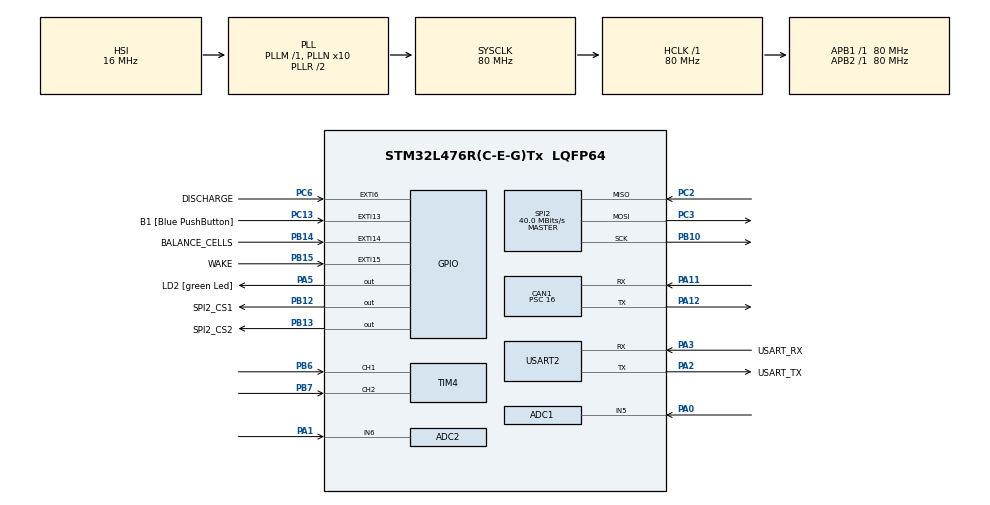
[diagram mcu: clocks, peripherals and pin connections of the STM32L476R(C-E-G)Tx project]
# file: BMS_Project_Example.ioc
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ADC1.Channel-0\#ChannelRegularConversion=ADC_CHANNEL_5
ADC1.Channel-1\#ChannelRegularConversion=ADC_CHANNEL_5
ADC1.ContinuousConvMode=DISABLE
ADC1.NbrOfConversion=2
ADC1.NbrOfConversionFlag=1
ADC1.OffsetNumber-0\#ChannelRegularConversion=ADC_OFFSET_NONE
ADC1.OffsetNumber-1\#ChannelRegularConversion=ADC_OFFSET_NONE
ADC1.Rank-0\#ChannelRegularConversion=1
ADC1.Rank-1\#ChannelRegularConversion=2
ADC1.SamplingTime-0\#ChannelRegularConversion=ADC_SAMPLETIME_2CYCLES_5
ADC1.SamplingTime-1\#ChannelRegularConversion=ADC_SAMPLETIME_2CYCLES_5
ADC1.master=1
ADC2.Channel-0\#ChannelRegularConversion=ADC_CHANNEL_6
ADC2.ContinuousConvMode=DISABLE
ADC2.NbrOfConversionFlag=1
ADC2.OffsetNumber-0\#ChannelRegularConversion=ADC_OFFSET_NONE
ADC2.Rank-0\#ChannelRegularConversion=1
ADC2.SamplingTime-0\#ChannelRegularConversion=ADC_SAMPLETIME_2CYCLES_5
CAN1.BS1=CAN_BS1_2TQ
CAN1.BS2=CAN_BS2_2TQ
CAN1.CalculateBaudRate=1000000
CAN1.CalculateTimeBit=1000
CAN1.CalculateTimeQuantum=200.0
CAN1.Prescaler=16
Mcu.Family=STM32L4
Mcu.Name=STM32L476R(C-E-G)Tx
Mcu.Package=LQFP64
NVIC.EXTI15_10_IRQn=true\:0\:0\:false\:false\:true\:true\:true\:true
NVIC.EXTI9_5_IRQn=true\:0\:0\:false\:false\:true\:true\:true\:true
NVIC.PriorityGroup=NVIC_PRIORITYGROUP_4
NVIC.SPI2_IRQn=true\:0\:0\:false\:false\:true\:true\:true\:true
NVIC.TIM1_UP_TIM16_IRQn=true\:0\:0\:false\:false\:true\:true\:true\:true
NVIC.TIM3_IRQn=true\:0\:0\:false\:false\:true\:true\:true\:true
PA0.Signal=ADCx_IN5
PA1.Signal=ADCx_IN6
PA11.Mode=CAN_Activate
PA11.Signal=CAN1_RX
PA12.Mode=CAN_Activate
PA12.Signal=CAN1_TX
PA13\ (JTMS-SWDIO).GPIO_Label=TMS
PA13\ (JTMS-SWDIO).Mode=Serial_Wire
PA13\ (JTMS-SWDIO).Signal=SYS_JTMS-SWDIO
PA14\ (JTCK-SWCLK).GPIO_Label=TCK
PA14\ (JTCK-SWCLK).Mode=Serial_Wire
PA14\ (JTCK-SWCLK).Signal=SYS_JTCK-SWCLK
PA2.GPIO_Label=USART_TX
PA2.GPIO_Mode=GPIO_MODE_AF_PP
PA2.GPIO_PuPd=GPIO_NOPULL
PA2.GPIO_Speed=GPIO_SPEED_FREQ_VERY_HIGH
PA2.Mode=Asynchronous
PA2.Signal=USART2_TX
PA3.GPIO_Label=USART_RX
PA3.GPIO_Mode=GPIO_MODE_AF_PP
PA3.GPIO_PuPd=GPIO_NOPULL
PA3.GPIO_Speed=GPIO_SPEED_FREQ_VERY_HIGH
PA3.Mode=Asynchronous
PA3.Signal=USART2_RX
PA5.GPIO_Label=LD2 [green Led]
PA5.GPIO_ModeDefaultOutputPP=GPIO_MODE_OUTPUT_PP
PA5.GPIO_PuPd=GPIO_NOPULL
PA5.GPIO_Speed=GPIO_SPEED_FREQ_LOW
PA5.Signal=GPIO_Output
PB10.Mode=Full_Duplex_Master
PB10.Signal=SPI2_SCK
PB12.GPIO_Label=SPI2_CS1
PB12.Signal=GPIO_Output
PB13.GPIO_Label=SPI2_CS2
PB13.Signal=GPIO_Output
PB14.GPIO_Label=BALANCE_CELLS
PB14.Signal=GPXTI14
PB15.GPIO_Label=WAKE
PB15.Signal=GPXTI15
PB3\ (JTDO-TRACESWO).GPIO_Label=SWO
PB3\ (JTDO-TRACESWO).Signal=SYS_JTDO-SWO
PB6.Signal=S_TIM4_CH1
PB7.Signal=S_TIM4_CH2
PC13.GPIO_Label=B1 [Blue PushButton]
PC13.GPIO_ModeDefaultEXTI=GPIO_MODE_IT_FALLING
PC13.GPIO_PuPd=GPIO_NOPULL
PC13.Signal=GPXTI13
PC14-OSC32_IN\ (PC14).Mode=LSE-External-Oscillator
PC14-OSC32_IN\ (PC14).Signal=RCC_OSC32_IN
PC15-OSC32_OUT\ (PC15).Mode=LSE-External-Oscillator
PC15-OSC32_OUT\ (PC15).Signal=RCC_OSC32_OUT
PC2.Mode=Full_Duplex_Master
PC2.Signal=SPI2_MISO
PC3.Mode=Full_Duplex_Master
PC3.Signal=SPI2_MOSI
PC6.GPIO_Label=DISCHARGE
PC6.Signal=GPXTI6
PH0-OSC_IN\ (PH0).Signal=RCC_OSC_IN
PH1-OSC_OUT\ (PH1).Signal=RCC_OSC_OUT
ProjectManager.HeapSize=0x200
ProjectManager.StackSize=0x400
ProjectManager.TargetToolchain=STM32CubeIDE
RCC.ADCFreq_Value=64000000
RCC.AHBFreq_Value=80000000
RCC.APB1Freq_Value=80000000
RCC.APB1TimFreq_Value=80000000
RCC.APB2Freq_Value=80000000
RCC.APB2TimFreq_Value=80000000
RCC.CortexFreq_Value=80000000
RCC.HCLKFreq_Value=80000000
RCC.HSE_VALUE=8000000
RCC.HSI_VALUE=16000000
RCC.MSI_VALUE=4000000
RCC.PLLN=10
RCC.PLLSourceVirtual=RCC_PLLSOURCE_HSI
RCC.PREFETCH_ENABLE=1
RCC.SYSCLKFreq_VALUE=80000000
RCC.SYSCLKSource=RCC_SYSCLKSOURCE_PLLCLK
RCC.USBFreq_Value=64000000
RCC.VCOOutputFreq_Value=160000000
SH.ADCx_IN5.0=ADC1_IN5,IN5-Single-Ended
SH.ADCx_IN6.0=ADC2_IN6,IN6-Single-Ended
SH.S_TIM4_CH1.0=TIM4_CH1,Encoder_Interface
SH.S_TIM4_CH2.0=TIM4_CH2,Encoder_Interface
SPI2.CalculateBaudRate=40.0 MBits/s
SPI2.DataSize=SPI_DATASIZE_8BIT
SPI2.Direction=SPI_DIRECTION_2LINES
SPI2.Mode=SPI_MODE_MASTER
SPI2.VirtualType=VM_MASTER
TIM1.AutoReloadPreload=TIM_AUTORELOAD_PRELOAD_ENABLE
TIM1.Period=10000
TIM1.Prescaler=8000-1
TIM3.AutoReloadPreload=TIM_AUTORELOAD_PRELOAD_ENABLE
TIM3.Period=50000
TIM3.Prescaler=8000-1
TIM4.AutoReloadPreload=TIM_AUTORELOAD_PRELOAD_DISABLE
USART2.VirtualMode-Asynchronous=VM_ASYNC
VP_TIM1_VS_ClockSourceINT.Mode=Internal
VP_TIM3_VS_ClockSourceINT.Mode=Internal
board=NUCLEO-L476RG

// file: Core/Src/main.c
/* USER CODE BEGIN Header */
/**
  ******************************************************************************
  * @file           : main.c
  * @brief          : Main program body
  ******************************************************************************
  * @attention
  *
  * Copyright (c) 2024 STMicroelectronics.
  * All rights reserved.
  *
  * This software is licensed under terms that can be found in the LICENSE file
  * in the root directory of this software component.
  * If no LICENSE file comes with this software, it is provided AS-IS.
  *
  ******************************************************************************
  */
/* USER CODE END Header */
#include "main.h"

/* USER CODE BEGIN Includes */
#include <stdbool.h>
#include<stdlib.h>
#include <stdio.h>
#include <string.h>
#include <time.h>
/* USER CODE END Includes */

/* USER CODE BEGIN PTD */
typedef enum {
	SELF_TEST,
	INIT,
	MEASURE,
	CHARGING,
	CHARGING_W_CB,
	FAULT,
	SLEEP,
	SELF_DISCHARGE
} BMS_STATES;

typedef struct {
	float voltage;
	float current; // + values means I_out > I_in
	float hotspot_temp;
} PACK_DATA;

typedef struct {
	float voltage;
	float temperature;
} CELL_DATA;

typedef struct {
	uint16_t voltage;
	uint16_t temperature;
} CELL_DATA_RAW;

// 128 bytes (no byte stuffing)
typedef struct {
	bool over_voltage;
	bool over_power;
	bool over_temperature;
	bool under_voltage;
	uint16_t cell_over_voltage;
	uint16_t cell_under_voltage;
	uint16_t cell_over_temperature;
	uint16_t cell_under_temperature;
	bool discharging;
	bool fault_triggered;
	bool charging;
	bool sleep;
} PACK_FLAGS;

// 32 bytes (no byte stuffing)
typedef struct {
	bool over_voltage;
	bool under_voltage;
	bool over_temperature;
	bool under_temperature;
} CELL_FLAGS;

// 224 bytes
typedef struct {
	uint32_t timestamp_ms;
	uint32_t packet_counter;
	PACK_FLAGS flags;
	PACK_DATA data;
} CAN_DATA;

/* USER CODE END PTD */

/* USER CODE BEGIN PD */
#define ADC_TO_VOLT(n)	 	(float)(((float)n * 5) / (1 << 12)) // 5V reference, 12 bit precision
/* Linreg applied on data given in Cell Pack Table 2. moved to be centered on (1.51,60) */
#define VOLT_TO_DEG_C(n) 	(float)(-116.5918987*((float)n - 1.51) + 60)
#define MIN_VOLT			(float)2.5 // 2.5 Volts as per Cell Pack Table 1
#define MAX_MEASURE_VOLT	(float)4.2 // 4.2 Volts as per Cell Pack Table 1
#define MAX_CHARGING_VOLT	(float)4.2 // Sometimes this may be set differently (4.3V)
#define MAX_CELL_TEMP		(float)60  // 60 degC as per Cell Pack Table 1
#define MIN_CELL_TEMP		(float)-20  // -20 degC as per Cell Pack Table 1
#define MAX_PACK_POWER		(float)80*1000 // 80kW as per EV.3.3.1
#define MAX_PACK_VOLTAGE	(float)600 // 600V DC as per EV.3.3.2
#define NUM_IC				(uint8_t)1 // could be any value
#define CELL_PER_IC			(uint8_t)1 // could be any value <= 12
#define TIME_TO_SLEEP		(uint32_t)10 // time (in s) where I_sleep > I_out after which enter sleep mode (can be anything)
#define TIME_TO_CHARGE		(uint32_t)1 // time (in s) where I_out > I_in after which enter charge mode (can be anything)
#define SLEEP_CURRENT		(float)4 // I_sleep (can be any value)

/* USER CODE END PD */

ADC_HandleTypeDef hadc1;
ADC_HandleTypeDef hadc2;

CAN_HandleTypeDef hcan1;

SPI_HandleTypeDef hspi2;

TIM_HandleTypeDef htim1;
TIM_HandleTypeDef htim3;
TIM_HandleTypeDef htim4;

UART_HandleTypeDef huart2;

/* USER CODE BEGIN PV */
#ifdef __GNUC__
#define PUTCHAR_PROTOTYPE int __io_putchar(int ch)
#else
#define PUTCHAR_PROTOTYPE int fputc(int ch, FILE *f)
#endif
PUTCHAR_PROTOTYPE {
  HAL_UART_Transmit(&huart2, (uint8_t *)&ch, 1, HAL_MAX_DELAY);
  return ch;
}

static BMS_STATES bms_state = SELF_TEST;
static PACK_DATA pack_data;
static CELL_DATA_RAW cell_data_raw[NUM_IC][CELL_PER_IC];
static CELL_DATA cell_data[NUM_IC][CELL_PER_IC];
static PACK_FLAGS pack_flags;
static CELL_FLAGS cell_flags[NUM_IC][CELL_PER_IC];
static CAN_DATA can_data;
static bool has_initialized;
static bool has_initialized_sleep;
static bool tim1_on;
static bool tim3_on;
static uint8_t current_cs;
static uint8_t current_cell[NUM_IC];
static uint32_t charging_timer;
static uint32_t sleep_timer;
static float highest_voltage;

/* USER CODE END PV */

void SystemClock_Config(void);
void PeriphCommonClock_Config(void);
static void MX_GPIO_Init(void);
static void MX_USART2_UART_Init(void);
static void MX_SPI2_Init(void);
static void MX_CAN1_Init(void);
static void MX_TIM1_Init(void);
static void MX_TIM3_Init(void);
static void MX_ADC1_Init(void);
static void MX_ADC2_Init(void);
static void MX_TIM4_Init(void);
/* USER CODE BEGIN PFP */
static void BMS_State_Machine(void);
static void Init_Peripherals(void);
static bool Peripheral_Check(void);
static bool Proper_Peripheral_Init(void);
static void Enable_TS(void);
static void Disable_TS(void);
static void Read_Current(void);
static void SPI_Read(void);
static void SPI_CS_Toggle(void);
static void Convert_Data(void);
static void Check_Data(void);
static void CAN_Send(void);
static void Enable_Low_Power(void);
static void Disable_Low_Power(void);
static bool Balance_Cells(void);
static void Discharge_Cell(void);
static void Discharge_Pack(void);
static void ConvertEndian(uint8_t *result, uint32_t original);
/* USER CODE END PFP */

int main(void)
{

  /* MCU Configuration--------------------------------------------------------*/

  /* Reset of all peripherals, Initializes the Flash interface and the Systick. */
  HAL_Init();

  /* Configure the system clock */
  SystemClock_Config();

/* Configure the peripherals common clocks */
  PeriphCommonClock_Config();

  /* Initialize all configured peripherals */
  MX_GPIO_Init();
  MX_USART2_UART_Init();
  MX_SPI2_Init();
  MX_CAN1_Init();
  MX_TIM1_Init();
  MX_TIM3_Init();
  MX_ADC1_Init();
  MX_ADC2_Init();
  MX_TIM4_Init();
  /* USER CODE BEGIN 2 */
  HAL_GPIO_WritePin(LD2_GPIO_Port, LD2_Pin, GPIO_PIN_SET);

  /* USER CODE END 2 */

  /* Infinite loop */
  while (1)
  {

    /* USER CODE BEGIN 3 */

	  // Begin State Machine
	  BMS_State_Machine();
  }
  /* USER CODE END 3 */
}

void SystemClock_Config(void)
{
  RCC_OscInitTypeDef RCC_OscInitStruct = {0};
  RCC_ClkInitTypeDef RCC_ClkInitStruct = {0};

  /** Configure the main internal regulator output voltage
  */
  if (HAL_PWREx_ControlVoltageScaling(PWR_REGULATOR_VOLTAGE_SCALE1) != HAL_OK)
  {
    Error_Handler();
  }

  /** Initializes the RCC Oscillators according to the specified parameters
  * in the RCC_OscInitTypeDef structure.
  */
  RCC_OscInitStruct.OscillatorType = RCC_OSCILLATORTYPE_HSI;
  RCC_OscInitStruct.HSIState = RCC_HSI_ON;
  RCC_OscInitStruct.HSICalibrationValue = RCC_HSICALIBRATION_DEFAULT;
  RCC_OscInitStruct.PLL.PLLState = RCC_PLL_ON;
  RCC_OscInitStruct.PLL.PLLSource = RCC_PLLSOURCE_HSI;
  RCC_OscInitStruct.PLL.PLLM = 1;
  RCC_OscInitStruct.PLL.PLLN = 10;
  RCC_OscInitStruct.PLL.PLLP = RCC_PLLP_DIV7;
  RCC_OscInitStruct.PLL.PLLQ = RCC_PLLQ_DIV2;
  RCC_OscInitStruct.PLL.PLLR = RCC_PLLR_DIV2;
  if (HAL_RCC_OscConfig(&RCC_OscInitStruct) != HAL_OK)
  {
    Error_Handler();
  }

  /** Initializes the CPU, AHB and APB buses clocks
  */
  RCC_ClkInitStruct.ClockType = RCC_CLOCKTYPE_HCLK|RCC_CLOCKTYPE_SYSCLK
                              |RCC_CLOCKTYPE_PCLK1|RCC_CLOCKTYPE_PCLK2;
  RCC_ClkInitStruct.SYSCLKSource = RCC_SYSCLKSOURCE_PLLCLK;
  RCC_ClkInitStruct.AHBCLKDivider = RCC_SYSCLK_DIV1;
  RCC_ClkInitStruct.APB1CLKDivider = RCC_HCLK_DIV1;
  RCC_ClkInitStruct.APB2CLKDivider = RCC_HCLK_DIV1;

  if (HAL_RCC_ClockConfig(&RCC_ClkInitStruct, FLASH_LATENCY_4) != HAL_OK)
  {
    Error_Handler();
  }
}

void PeriphCommonClock_Config(void)
{
  RCC_PeriphCLKInitTypeDef PeriphClkInit = {0};

  /** Initializes the peripherals clock
  */
  PeriphClkInit.PeriphClockSelection = RCC_PERIPHCLK_ADC;
  PeriphClkInit.AdcClockSelection = RCC_ADCCLKSOURCE_PLLSAI1;
  PeriphClkInit.PLLSAI1.PLLSAI1Source = RCC_PLLSOURCE_HSI;
  PeriphClkInit.PLLSAI1.PLLSAI1M = 1;
  PeriphClkInit.PLLSAI1.PLLSAI1N = 8;
  PeriphClkInit.PLLSAI1.PLLSAI1P = RCC_PLLP_DIV7;
  PeriphClkInit.PLLSAI1.PLLSAI1Q = RCC_PLLQ_DIV2;
  PeriphClkInit.PLLSAI1.PLLSAI1R = RCC_PLLR_DIV2;
  PeriphClkInit.PLLSAI1.PLLSAI1ClockOut = RCC_PLLSAI1_ADC1CLK;
  if (HAL_RCCEx_PeriphCLKConfig(&PeriphClkInit) != HAL_OK)
  {
    Error_Handler();
  }
}

static void MX_ADC1_Init(void)
{

  ADC_MultiModeTypeDef multimode = {0};
  ADC_ChannelConfTypeDef sConfig = {0};

  /** Common config
  */
  hadc1.Instance = ADC1;
  hadc1.Init.ClockPrescaler = ADC_CLOCK_ASYNC_DIV1;
  hadc1.Init.Resolution = ADC_RESOLUTION_12B;
  hadc1.Init.DataAlign = ADC_DATAALIGN_RIGHT;
  hadc1.Init.ScanConvMode = ADC_SCAN_ENABLE;
  hadc1.Init.EOCSelection = ADC_EOC_SINGLE_CONV;
  hadc1.Init.LowPowerAutoWait = DISABLE;
  hadc1.Init.ContinuousConvMode = DISABLE;
  hadc1.Init.NbrOfConversion = 2;
  hadc1.Init.DiscontinuousConvMode = DISABLE;
  hadc1.Init.ExternalTrigConv = ADC_SOFTWARE_START;
  hadc1.Init.ExternalTrigConvEdge = ADC_EXTERNALTRIGCONVEDGE_NONE;
  hadc1.Init.DMAContinuousRequests = DISABLE;
  hadc1.Init.Overrun = ADC_OVR_DATA_PRESERVED;
  hadc1.Init.OversamplingMode = DISABLE;
  if (HAL_ADC_Init(&hadc1) != HAL_OK)
  {
    Error_Handler();
  }

  /** Configure the ADC multi-mode
  */
  multimode.Mode = ADC_MODE_INDEPENDENT;
  if (HAL_ADCEx_MultiModeConfigChannel(&hadc1, &multimode) != HAL_OK)
  {
    Error_Handler();
  }

  /** Configure Regular Channel
  */
  sConfig.Channel = ADC_CHANNEL_5;
  sConfig.Rank = ADC_REGULAR_RANK_1;
  sConfig.SamplingTime = ADC_SAMPLETIME_2CYCLES_5;
  sConfig.SingleDiff = ADC_SINGLE_ENDED;
  sConfig.OffsetNumber = ADC_OFFSET_NONE;
  sConfig.Offset = 0;
  if (HAL_ADC_ConfigChannel(&hadc1, &sConfig) != HAL_OK)
  {
    Error_Handler();
  }

  /** Configure Regular Channel
  */
  sConfig.Rank = ADC_REGULAR_RANK_2;
  if (HAL_ADC_ConfigChannel(&hadc1, &sConfig) != HAL_OK)
  {
    Error_Handler();
  }

}

static void MX_ADC2_Init(void)
{

  ADC_ChannelConfTypeDef sConfig = {0};

  /** Common config
  */
  hadc2.Instance = ADC2;
  hadc2.Init.ClockPrescaler = ADC_CLOCK_ASYNC_DIV1;
  hadc2.Init.Resolution = ADC_RESOLUTION_12B;
  hadc2.Init.DataAlign = ADC_DATAALIGN_RIGHT;
  hadc2.Init.ScanConvMode = ADC_SCAN_DISABLE;
  hadc2.Init.EOCSelection = ADC_EOC_SINGLE_CONV;
  hadc2.Init.LowPowerAutoWait = DISABLE;
  hadc2.Init.ContinuousConvMode = DISABLE;
  hadc2.Init.NbrOfConversion = 1;
  hadc2.Init.DiscontinuousConvMode = DISABLE;
  hadc2.Init.ExternalTrigConv = ADC_SOFTWARE_START;
  hadc2.Init.ExternalTrigConvEdge = ADC_EXTERNALTRIGCONVEDGE_NONE;
  hadc2.Init.DMAContinuousRequests = DISABLE;
  hadc2.Init.Overrun = ADC_OVR_DATA_PRESERVED;
  hadc2.Init.OversamplingMode = DISABLE;
  if (HAL_ADC_Init(&hadc2) != HAL_OK)
  {
    Error_Handler();
  }

  /** Configure Regular Channel
  */
  sConfig.Channel = ADC_CHANNEL_6;
  sConfig.Rank = ADC_REGULAR_RANK_1;
  sConfig.SamplingTime = ADC_SAMPLETIME_2CYCLES_5;
  sConfig.SingleDiff = ADC_SINGLE_ENDED;
  sConfig.OffsetNumber = ADC_OFFSET_NONE;
  sConfig.Offset = 0;
  if (HAL_ADC_ConfigChannel(&hadc2, &sConfig) != HAL_OK)
  {
    Error_Handler();
  }

}

static void MX_CAN1_Init(void)
{

  hcan1.Instance = CAN1;
  hcan1.Init.Prescaler = 16;
  hcan1.Init.Mode = CAN_MODE_NORMAL;
  hcan1.Init.SyncJumpWidth = CAN_SJW_1TQ;
  hcan1.Init.TimeSeg1 = CAN_BS1_2TQ;
  hcan1.Init.TimeSeg2 = CAN_BS2_2TQ;
  hcan1.Init.TimeTriggeredMode = DISABLE;
  hcan1.Init.AutoBusOff = DISABLE;
  hcan1.Init.AutoWakeUp = DISABLE;
  hcan1.Init.AutoRetransmission = DISABLE;
  hcan1.Init.ReceiveFifoLocked = DISABLE;
  hcan1.Init.TransmitFifoPriority = DISABLE;
  if (HAL_CAN_Init(&hcan1) != HAL_OK)
  {
    Error_Handler();
  }

}

static void MX_SPI2_Init(void)
{

  /* SPI2 parameter configuration*/
  hspi2.Instance = SPI2;
  hspi2.Init.Mode = SPI_MODE_MASTER;
  hspi2.Init.Direction = SPI_DIRECTION_2LINES;
  hspi2.Init.DataSize = SPI_DATASIZE_8BIT;
  hspi2.Init.CLKPolarity = SPI_POLARITY_LOW;
  hspi2.Init.CLKPhase = SPI_PHASE_1EDGE;
  hspi2.Init.NSS = SPI_NSS_SOFT;
  hspi2.Init.BaudRatePrescaler = SPI_BAUDRATEPRESCALER_2;
  hspi2.Init.FirstBit = SPI_FIRSTBIT_MSB;
  hspi2.Init.TIMode = SPI_TIMODE_DISABLE;
  hspi2.Init.CRCCalculation = SPI_CRCCALCULATION_DISABLE;
  hspi2.Init.CRCPolynomial = 7;
  hspi2.Init.CRCLength = SPI_CRC_LENGTH_DATASIZE;
  hspi2.Init.NSSPMode = SPI_NSS_PULSE_ENABLE;
  if (HAL_SPI_Init(&hspi2) != HAL_OK)
  {
    Error_Handler();
  }

}

static void MX_TIM1_Init(void)
{

  TIM_ClockConfigTypeDef sClockSourceConfig = {0};
  TIM_MasterConfigTypeDef sMasterConfig = {0};

  htim1.Instance = TIM1;
  htim1.Init.Prescaler = 8000-1;
  htim1.Init.CounterMode = TIM_COUNTERMODE_UP;
  htim1.Init.Period = 10000;
  htim1.Init.ClockDivision = TIM_CLOCKDIVISION_DIV1;
  htim1.Init.RepetitionCounter = 0;
  htim1.Init.AutoReloadPreload = TIM_AUTORELOAD_PRELOAD_ENABLE;
  if (HAL_TIM_Base_Init(&htim1) != HAL_OK)
  {
    Error_Handler();
  }
  sClockSourceConfig.ClockSource = TIM_CLOCKSOURCE_INTERNAL;
  if (HAL_TIM_ConfigClockSource(&htim1, &sClockSourceConfig) != HAL_OK)
  {
    Error_Handler();
  }
  sMasterConfig.MasterOutputTrigger = TIM_TRGO_RESET;
  sMasterConfig.MasterOutputTrigger2 = TIM_TRGO2_RESET;
  sMasterConfig.MasterSlaveMode = TIM_MASTERSLAVEMODE_DISABLE;
  if (HAL_TIMEx_MasterConfigSynchronization(&htim1, &sMasterConfig) != HAL_OK)
  {
    Error_Handler();
  }

}

static void MX_TIM3_Init(void)
{

  TIM_ClockConfigTypeDef sClockSourceConfig = {0};
  TIM_MasterConfigTypeDef sMasterConfig = {0};

  htim3.Instance = TIM3;
  htim3.Init.Prescaler = 8000-1;
  htim3.Init.CounterMode = TIM_COUNTERMODE_UP;
  htim3.Init.Period = 50000;
  htim3.Init.ClockDivision = TIM_CLOCKDIVISION_DIV1;
  htim3.Init.AutoReloadPreload = TIM_AUTORELOAD_PRELOAD_ENABLE;
  if (HAL_TIM_Base_Init(&htim3) != HAL_OK)
  {
    Error_Handler();
  }
  sClockSourceConfig.ClockSource = TIM_CLOCKSOURCE_INTERNAL;
  if (HAL_TIM_ConfigClockSource(&htim3, &sClockSourceConfig) != HAL_OK)
  {
    Error_Handler();
  }
  sMasterConfig.MasterOutputTrigger = TIM_TRGO_RESET;
  sMasterConfig.MasterSlaveMode = TIM_MASTERSLAVEMODE_DISABLE;
  if (HAL_TIMEx_MasterConfigSynchronization(&htim3, &sMasterConfig) != HAL_OK)
  {
    Error_Handler();
  }

}

static void MX_TIM4_Init(void)
{

  TIM_Encoder_InitTypeDef sConfig = {0};
  TIM_MasterConfigTypeDef sMasterConfig = {0};

  htim4.Instance = TIM4;
  htim4.Init.Prescaler = 0;
  htim4.Init.CounterMode = TIM_COUNTERMODE_UP;
  htim4.Init.Period = 65535;
  htim4.Init.ClockDivision = TIM_CLOCKDIVISION_DIV1;
  htim4.Init.AutoReloadPreload = TIM_AUTORELOAD_PRELOAD_DISABLE;
  sConfig.EncoderMode = TIM_ENCODERMODE_TI1;
  sConfig.IC1Polarity = TIM_ICPOLARITY_RISING;
  sConfig.IC1Selection = TIM_ICSELECTION_DIRECTTI;
  sConfig.IC1Prescaler = TIM_ICPSC_DIV1;
  sConfig.IC1Filter = 0;
  sConfig.IC2Polarity = TIM_ICPOLARITY_RISING;
  sConfig.IC2Selection = TIM_ICSELECTION_DIRECTTI;
  sConfig.IC2Prescaler = TIM_ICPSC_DIV1;
  sConfig.IC2Filter = 0;
  if (HAL_TIM_Encoder_Init(&htim4, &sConfig) != HAL_OK)
  {
    Error_Handler();
  }
  sMasterConfig.MasterOutputTrigger = TIM_TRGO_RESET;
  sMasterConfig.MasterSlaveMode = TIM_MASTERSLAVEMODE_DISABLE;
  if (HAL_TIMEx_MasterConfigSynchronization(&htim4, &sMasterConfig) != HAL_OK)
  {
    Error_Handler();
  }

}

static void MX_USART2_UART_Init(void)
{

  huart2.Instance = USART2;
  huart2.Init.BaudRate = 115200;
  huart2.Init.WordLength = UART_WORDLENGTH_8B;
  huart2.Init.StopBits = UART_STOPBITS_1;
  huart2.Init.Parity = UART_PARITY_NONE;
  huart2.Init.Mode = UART_MODE_TX_RX;
  huart2.Init.HwFlowCtl = UART_HWCONTROL_NONE;
  huart2.Init.OverSampling = UART_OVERSAMPLING_16;
  huart2.Init.OneBitSampling = UART_ONE_BIT_SAMPLE_DISABLE;
  huart2.AdvancedInit.AdvFeatureInit = UART_ADVFEATURE_NO_INIT;
  if (HAL_UART_Init(&huart2) != HAL_OK)
  {
    Error_Handler();
  }

}

static void MX_GPIO_Init(void)
{
  GPIO_InitTypeDef GPIO_InitStruct = {0};

  /* GPIO Ports Clock Enable */
  __HAL_RCC_GPIOC_CLK_ENABLE();
  __HAL_RCC_GPIOH_CLK_ENABLE();
  __HAL_RCC_GPIOA_CLK_ENABLE();
  __HAL_RCC_GPIOB_CLK_ENABLE();

  /*Configure GPIO pin Output Level */
  HAL_GPIO_WritePin(LD2_GPIO_Port, LD2_Pin, GPIO_PIN_RESET);

  /*Configure GPIO pin Output Level */
  HAL_GPIO_WritePin(GPIOB, SPI2_CS1_Pin|SPI2_CS2_Pin, GPIO_PIN_RESET);

  /*Configure GPIO pin : B1_Pin */
  GPIO_InitStruct.Pin = B1_Pin;
  GPIO_InitStruct.Mode = GPIO_MODE_IT_FALLING;
  GPIO_InitStruct.Pull = GPIO_NOPULL;
  HAL_GPIO_Init(B1_GPIO_Port, &GPIO_InitStruct);

  /*Configure GPIO pin : LD2_Pin */
  GPIO_InitStruct.Pin = LD2_Pin;
  GPIO_InitStruct.Mode = GPIO_MODE_OUTPUT_PP;
  GPIO_InitStruct.Pull = GPIO_NOPULL;
  GPIO_InitStruct.Speed = GPIO_SPEED_FREQ_LOW;
  HAL_GPIO_Init(LD2_GPIO_Port, &GPIO_InitStruct);

  /*Configure GPIO pins : SPI2_CS1_Pin SPI2_CS2_Pin */
  GPIO_InitStruct.Pin = SPI2_CS1_Pin|SPI2_CS2_Pin;
  GPIO_InitStruct.Mode = GPIO_MODE_OUTPUT_PP;
  GPIO_InitStruct.Pull = GPIO_NOPULL;
  GPIO_InitStruct.Speed = GPIO_SPEED_FREQ_LOW;
  HAL_GPIO_Init(GPIOB, &GPIO_InitStruct);

  /*Configure GPIO pins : BALANCE_CELLS_Pin WAKE_Pin */
  GPIO_InitStruct.Pin = BALANCE_CELLS_Pin|WAKE_Pin;
  GPIO_InitStruct.Mode = GPIO_MODE_IT_RISING;
  GPIO_InitStruct.Pull = GPIO_NOPULL;
  HAL_GPIO_Init(GPIOB, &GPIO_InitStruct);

  /*Configure GPIO pin : DISCHARGE_Pin */
  GPIO_InitStruct.Pin = DISCHARGE_Pin;
  GPIO_InitStruct.Mode = GPIO_MODE_IT_RISING;
  GPIO_InitStruct.Pull = GPIO_NOPULL;
  HAL_GPIO_Init(DISCHARGE_GPIO_Port, &GPIO_InitStruct);

  /* EXTI interrupt init*/
  HAL_NVIC_SetPriority(EXTI9_5_IRQn, 0, 0);
  HAL_NVIC_EnableIRQ(EXTI9_5_IRQn);

  HAL_NVIC_SetPriority(EXTI15_10_IRQn, 0, 0);
  HAL_NVIC_EnableIRQ(EXTI15_10_IRQn);

}

/* USER CODE BEGIN 4 */

// Main state machine for the BMS where bms_state is the current state
static void BMS_State_Machine(void) {
	switch(bms_state) {
		case SELF_TEST:
			printf("TESTING\n\r");
			// To avoid repeated initializations
			if ( !has_initialized ) {
				Init_Peripherals();
			}

			// Check that peripherals are reachable, if so -> INIT
			if ( Peripheral_Check() ) {
				bms_state = INIT;
			}

			break;
		case INIT:

			if ( has_initialized_sleep ) {
				Disable_Low_Power();
			}

			// Check peripheral fault registers and configuration, if so -> MEASURE
			if ( Proper_Peripheral_Init() ) {
				Enable_TS();
				bms_state = MEASURE;
			}

			break;
		case MEASURE:
			if ( tim3_on ) {
				HAL_TIM_Base_Stop_IT(&htim3);  // Stop 5 ms timer
				tim3_on = false;
			}

			if ( !tim1_on ) {
				HAL_TIM_Base_Start_IT(&htim1);  // Start 1 ms timer
				tim1_on = true;
			}

			break;
		case CHARGING:
			break;
		case CHARGING_W_CB:
			break;
		case FAULT:

			if ( !pack_flags.fault_triggered ) {
				Disable_TS();
				pack_flags.fault_triggered = true;
			}

			if ( tim3_on ) {
				HAL_TIM_Base_Stop_IT(&htim3);  // Stop 5 ms timer
				tim3_on = false;
			}

			if ( !tim1_on ) {
				HAL_TIM_Base_Start_IT(&htim1);  // Start 1 ms timer
				tim1_on = true;
			}

			break;
		case SLEEP:

			if ( !has_initialized_sleep ) {
				Enable_Low_Power();
			}

			if ( tim1_on ) {
				HAL_TIM_Base_Stop_IT(&htim1);  // Stop 1 ms timer
				tim1_on = false;
			}

			if ( !tim3_on ) {
				HAL_TIM_Base_Start_IT(&htim3);  // Start 5 ms timer
				tim3_on = true;
			}

			break;
		case SELF_DISCHARGE:

			if ( !pack_flags.discharging ) {
				Disable_TS();
				Discharge_Pack();
				pack_flags.discharging = true;
			}

			if ( tim3_on ) {
				HAL_TIM_Base_Stop_IT(&htim3);  // Stop 5 ms timer
				tim3_on = false;
			}

			if ( !tim1_on ) {
				HAL_TIM_Base_Start_IT(&htim1);  // Start 1 ms timer
				tim1_on = true;
			}

			break;
	}
}

static void Init_Peripherals(void) {
	HAL_ADC_Start(&hadc1);
	HAL_ADC_Start(&hadc2);
	HAL_TIM_Encoder_Start(&htim4,TIM_CHANNEL_ALL);

	has_initialized = true;
}

static bool Peripheral_Check(void) {
	SPI_Read();

	return true;
}

static bool Proper_Peripheral_Init(void) {
	return true;
}

static void Enable_TS(void) {
	HAL_GPIO_WritePin(LD2_GPIO_Port, LD2_Pin, GPIO_PIN_SET);
}

static void Disable_TS(void) {
	HAL_GPIO_WritePin(LD2_GPIO_Port, LD2_Pin, GPIO_PIN_RESET);
}

static void Read_Current(void) {
	pack_data.current = (int16_t)htim4.Instance->CNT;
}

static void SPI_Read(void) {

	HAL_ADC_Start(&hadc1);

	HAL_ADC_PollForConversion(&hadc1, 100);

	cell_data_raw[0][0].voltage = HAL_ADC_GetValue(&hadc1);

	HAL_ADC_Stop(&hadc1);

	HAL_ADC_Start(&hadc2);

	HAL_ADC_PollForConversion(&hadc2, 100);

	cell_data_raw[0][0].temperature = HAL_ADC_GetValue(&hadc2);

	HAL_ADC_Stop(&hadc2);
}

static void SPI_CS_Toggle(void) {

}

static void Convert_Data(void) {
	cell_data[0][0].voltage = ADC_TO_VOLT(cell_data_raw[0][0].voltage);
	cell_data[0][0].temperature = VOLT_TO_DEG_C(ADC_TO_VOLT(cell_data_raw[0][0].temperature));
}

static void Check_Data(void) {
	if ( cell_data[0][0].voltage >= MAX_MEASURE_VOLT ) {
		bms_state = FAULT;
		pack_flags.cell_over_voltage = 1;
		cell_flags[0][0].over_voltage = true;
		printf("MAX_VOLT\n\r");
	}

	if ( cell_data[0][0].voltage < MIN_VOLT ) {
		bms_state = FAULT;
		pack_flags.cell_under_voltage = 1;
		cell_flags[0][0].under_temperature = true;
		printf("MIN_VOLT\n\r");
	}

	if ( cell_data[0][0].temperature > MAX_CELL_TEMP ) {
		bms_state = FAULT;
		pack_flags.cell_over_temperature = 1;
		cell_flags[0][0].over_temperature = true;
		printf("TEMP\n\r");
	}
}

static void CAN_Send(void) {
	printf("State: %i, Current: %f, Voltage: %f, Temperature: %f\n\r", bms_state, pack_data.current, cell_data[0][0].voltage, cell_data[0][0].temperature);
}

static void Enable_Low_Power(void) {

}

static void Disable_Low_Power(void) {

}

static bool Balance_Cells(void) {
	return false;
}

static void Discharge_Cell(void) {

}

static void Discharge_Pack(void) {

}

static void ConvertEndian(uint8_t *result, uint32_t original) {
  // Example Edian Conversion for 4 byte read/writes where SPI sends over 16 bit words
  // Simpler for 2 byte, where upper byte swaps with lower byte
  // o3 o2 o1 o0 --> o2 o3 o0 o1 as r3 r2 r1 r0

  result[0] = (original >> 16) & 0xFF;
  result[1] = (original >> 24) & 0xFF;
  result[2] = original & 0xFF;
  result[3] = (original >> 8) & 0xFF;
}

void HAL_TIM_PeriodElapsedCallback(TIM_HandleTypeDef *htim) {
	if ( htim == &htim1 ) {
		// Rollover must be handled by master
		can_data.timestamp_ms++;
		can_data.timestamp_ms =
				(can_data.timestamp_ms == 0xFFFF) ? 0 : can_data.timestamp_ms;

		SPI_Read();
		Read_Current();

		Convert_Data();
		Check_Data();
		CAN_Send();

		if ( bms_state == CHARGING_W_CB ) {
			if ( Balance_Cells() ) {
				bms_state = CHARGING;
			}
		}

		float diff = highest_voltage - MAX_CHARGING_VOLT;
		if ( bms_state == CHARGING && ((diff > 0) ? diff < 1e-9f : diff > -1e-9f) ) {
			bms_state = MEASURE;
			pack_flags.charging = false;
		}

		if ( bms_state == CHARGING && pack_data.current >= 0 && pack_flags.charging ) {
			bms_state = MEASURE;
			pack_flags.charging = false;
		}

		if ( bms_state == MEASURE && pack_data.current < 0 && !pack_flags.charging ) {
			if ( charging_timer >=  TIME_TO_CHARGE ) {
				charging_timer = 0;
				bms_state = CHARGING;
				pack_flags.charging = true;
			}

			charging_timer++;
		}
		else {
			charging_timer = 0;
		}

		if ( bms_state == MEASURE && pack_data.current >= 0 && pack_data.current < SLEEP_CURRENT && !pack_flags.sleep ) {
			if ( sleep_timer >=  TIME_TO_SLEEP ) {
				sleep_timer = 0;
				bms_state = SLEEP;
				pack_flags.sleep = true;
			}

			sleep_timer++;
		}
		else {
			sleep_timer = 0;
		}
	}

	else if ( htim == &htim3 ) {
		// Rollover must be handled by master
		can_data.timestamp_ms += 5;
		can_data.timestamp_ms =
				(can_data.timestamp_ms == 0xFFFF) ? 0 : can_data.timestamp_ms;

		SPI_Read();
		Read_Current();

		Convert_Data();
		Check_Data();
		CAN_Send();

		if ( bms_state == SLEEP && (pack_data.current < 0 || pack_data.current > SLEEP_CURRENT) ) {
			bms_state = INIT;
			pack_flags.sleep = false;
		}
	}
}

void HAL_SPI_TxRxCpltCallback(SPI_HandleTypeDef *hspi) {
	if ( hspi == &hspi2 ) {

	}
}

void HAL_GPIO_EXTI_Callback(uint16_t GPIO_Pin) {
    if ( GPIO_Pin == WAKE_Pin ) {
    	if ( bms_state == SLEEP ) {
    		bms_state = MEASURE;
    		pack_flags.sleep = false;
    	}
    }

    if ( GPIO_Pin == BALANCE_CELLS_Pin ) {
    	if ( bms_state == CHARGING ) {
    		bms_state = CHARGING_W_CB;
    	}
    	else if ( bms_state == CHARGING_W_CB ) {
			bms_state = CHARGING;
		}
	}

    if ( GPIO_Pin == DISCHARGE_Pin ) {
		if ( bms_state == MEASURE || bms_state == SLEEP ) {
			bms_state = SELF_DISCHARGE;
		}
	}
}
/* USER CODE END 4 */

void Error_Handler(void)
{
  __disable_irq();
  while (1)
  {
  }
}
